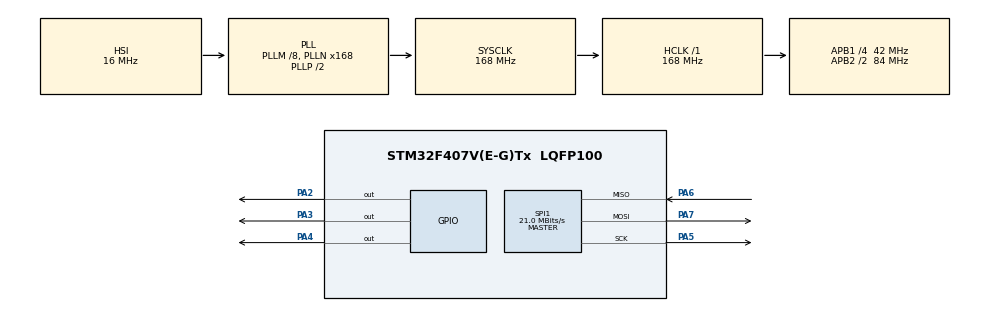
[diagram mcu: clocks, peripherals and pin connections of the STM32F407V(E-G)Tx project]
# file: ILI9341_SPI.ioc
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Mcu.Family=STM32F4
Mcu.Name=STM32F407V(E-G)Tx
Mcu.Package=LQFP100
NVIC.PriorityGroup=NVIC_PRIORITYGROUP_4
PA13.Mode=Serial_Wire
PA13.Signal=SYS_JTMS-SWDIO
PA14.Mode=Serial_Wire
PA14.Signal=SYS_JTCK-SWCLK
PA2.GPIO_Speed=GPIO_SPEED_FREQ_HIGH
PA2.Signal=GPIO_Output
PA3.GPIO_Speed=GPIO_SPEED_FREQ_HIGH
PA3.Signal=GPIO_Output
PA4.GPIO_Speed=GPIO_SPEED_FREQ_HIGH
PA4.Signal=GPIO_Output
PA5.Mode=Full_Duplex_Master
PA5.Signal=SPI1_SCK
PA6.Mode=Full_Duplex_Master
PA6.Signal=SPI1_MISO
PA7.Mode=Full_Duplex_Master
PA7.Signal=SPI1_MOSI
PH0-OSC_IN.Mode=HSE-External-Oscillator
PH0-OSC_IN.Signal=RCC_OSC_IN
PH1-OSC_OUT.Mode=HSE-External-Oscillator
PH1-OSC_OUT.Signal=RCC_OSC_OUT
ProjectManager.HeapSize=0x400
ProjectManager.StackSize=0x800
ProjectManager.TargetToolchain=MDK-ARM V5.27
RCC.48MHZClocksFreq_Value=48000000
RCC.AHBFreq_Value=168000000
RCC.APB1CLKDivider=RCC_HCLK_DIV4
RCC.APB1Freq_Value=42000000
RCC.APB1TimFreq_Value=84000000
RCC.APB2CLKDivider=RCC_HCLK_DIV2
RCC.APB2Freq_Value=84000000
RCC.APB2TimFreq_Value=168000000
RCC.CortexFreq_Value=168000000
RCC.HCLKFreq_Value=168000000
RCC.HSE_VALUE=8000000
RCC.HSI_VALUE=16000000
RCC.LSE_VALUE=32768
RCC.PLLM=8
RCC.PLLN=168
RCC.PLLQ=7
RCC.SYSCLKFreq_VALUE=168000000
RCC.SYSCLKSource=RCC_SYSCLKSOURCE_PLLCLK
RCC.VCOOutputFreq_Value=336000000
SPI1.BaudRatePrescaler=SPI_BAUDRATEPRESCALER_4
SPI1.CalculateBaudRate=21.0 MBits/s
SPI1.Direction=SPI_DIRECTION_2LINES
SPI1.Mode=SPI_MODE_MASTER
SPI1.VirtualType=VM_MASTER
VP_RNG_VS_RNG.Mode=RNG_Activate
board=custom

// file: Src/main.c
/* USER CODE BEGIN Header */
/**
  ******************************************************************************
  * @file           : main.c
  * @brief          : Main program body
  ******************************************************************************
  * @attention
  *
  * <h2><center>&copy; Copyright (c) 2019 STMicroelectronics.
  * All rights reserved.</center></h2>
  *
  * This software component is licensed by ST under BSD 3-Clause license,
  * the "License"; You may not use this file except in compliance with the
  * License. You may obtain a copy of the License at:
  *                        opensource.org/licenses/BSD-3-Clause
  *
  ******************************************************************************
  */
/* USER CODE END Header */

#include "main.h"

/* USER CODE BEGIN Includes */
#include "spi_ili9341.h"
/* USER CODE END Includes */

RNG_HandleTypeDef hrng;

SPI_HandleTypeDef hspi1;

/* USER CODE BEGIN PV */
extern uint16_t TFT9341_WIDTH;
extern uint16_t TFT9341_HEIGHT;
//-------------------------------------------------------------------
/* USER CODE END PV */

void SystemClock_Config(void);
static void MX_GPIO_Init(void);
static void MX_RNG_Init(void);
static void MX_SPI1_Init(void);

/* USER CODE BEGIN 0 */
__STATIC_INLINE void DelayMicro(uint32_t __IO micros)
{
  micros *=(SystemCoreClock/1000000)/5;
  while(micros--);
}
/* USER CODE END 0 */

int main(void)
{
  /* USER CODE BEGIN 1 */
  uint16_t i,j;
  /* USER CODE END 1 */

  /* MCU Configuration--------------------------------------------------------*/

  /* Reset of all peripherals, Initializes the Flash interface and the Systick. */
  HAL_Init();

  /* Configure the system clock */
  SystemClock_Config();

  /* Initialize all configured peripherals */
  MX_GPIO_Init();
  MX_RNG_Init();
  MX_SPI1_Init();
  /* USER CODE BEGIN 2 */
  TFT9341_ini(240, 320);
  TFT9341_FillScreen(TFT9341_BLACK);
  HAL_Delay(500);
  /* USER CODE END 2 */

  /* Infinite loop */
  while (1)
  {

    /* USER CODE BEGIN 3 */
    for(i=0;i<20;i++)
    {
      TFT9341_FillScreen(TFT9341_RandColor());
      HAL_Delay(150);
    }
		HAL_Delay(500);
    TFT9341_FillScreen(TFT9341_BLACK);
    for(i=0;i<20;i++)
    {
      TFT9341_FillRect(0, 0, TFT9341_WIDTH/2-1, TFT9341_HEIGHT/2-1, TFT9341_RandColor());
      HAL_Delay(100);
      TFT9341_FillRect(TFT9341_WIDTH/2, 0, TFT9341_WIDTH-1, TFT9341_HEIGHT/2-1, TFT9341_RandColor());
      HAL_Delay(100);
      TFT9341_FillRect(0, TFT9341_HEIGHT/2, TFT9341_WIDTH/2-1, TFT9341_HEIGHT-1, TFT9341_RandColor());
      HAL_Delay(100);
      TFT9341_FillRect(TFT9341_WIDTH/2, TFT9341_HEIGHT/2, TFT9341_WIDTH-1, TFT9341_HEIGHT-1, TFT9341_RandColor());
      HAL_Delay(100);
    }
    HAL_Delay(500);
    TFT9341_FillScreen(TFT9341_BLACK);
    for(i=0;i<1000;i++)
    {
      TFT9341_FillRect(HAL_RNG_GetRandomNumber(&hrng)%TFT9341_WIDTH,
              HAL_RNG_GetRandomNumber(&hrng)%TFT9341_HEIGHT,
              HAL_RNG_GetRandomNumber(&hrng)%TFT9341_WIDTH,
              HAL_RNG_GetRandomNumber(&hrng)%TFT9341_HEIGHT,
              TFT9341_RandColor());
      HAL_Delay(10);
    }
    HAL_Delay(500);
    TFT9341_FillScreen(TFT9341_BLACK);
    for(i=0;i<15000;i++)
    {
      for(j=0;j<100;j++)
      {
        TFT9341_DrawPixel(HAL_RNG_GetRandomNumber(&hrng)%TFT9341_WIDTH,
                          HAL_RNG_GetRandomNumber(&hrng)%TFT9341_HEIGHT,
                          TFT9341_BLACK);
      }
      TFT9341_DrawPixel(HAL_RNG_GetRandomNumber(&hrng)%TFT9341_WIDTH,
                          HAL_RNG_GetRandomNumber(&hrng)%TFT9341_HEIGHT,
                          TFT9341_RandColor());
      DelayMicro(100);
    }
    HAL_Delay(500);
    for(j=0;j<20;j++)
    {
      for(i=0;i<TFT9341_WIDTH;i++)
      {
        TFT9341_DrawLine(TFT9341_RandColor(),i,0,i,TFT9341_HEIGHT-1);
      }
    }
    HAL_Delay(500);
    TFT9341_FillScreen(TFT9341_BLACK);
    for(i=0;i<1000;i++)
    {
      TFT9341_DrawLine(TFT9341_RandColor(),
                      HAL_RNG_GetRandomNumber(&hrng)%TFT9341_WIDTH,
                      HAL_RNG_GetRandomNumber(&hrng)%TFT9341_HEIGHT,
                      HAL_RNG_GetRandomNumber(&hrng)%TFT9341_WIDTH,
                      HAL_RNG_GetRandomNumber(&hrng)%TFT9341_HEIGHT);
      HAL_Delay(10);
    }
    HAL_Delay(500);
    TFT9341_FillScreen(TFT9341_BLACK);
    for(j=0;j<20;j++)
    {
      for(i=0;i<TFT9341_WIDTH/2;i++)
      {
        TFT9341_DrawRect(TFT9341_RandColor(), i, i, TFT9341_WIDTH-i-1, TFT9341_HEIGHT-i-1);
      }
    }
    HAL_Delay(500);
    TFT9341_FillScreen(TFT9341_BLACK);
    for(i=0;i<2000;i++)
    {
      TFT9341_DrawCircle(HAL_RNG_GetRandomNumber(&hrng)%(TFT9341_WIDTH-40)+20,
                         HAL_RNG_GetRandomNumber(&hrng)%(TFT9341_HEIGHT-40)+20,
                         20,TFT9341_RandColor());
      HAL_Delay(3);
    }
    HAL_Delay(500);
    TFT9341_FillScreen(TFT9341_BLACK);
    TFT9341_SetTextColor(TFT9341_YELLOW);
    TFT9341_SetBackColor(TFT9341_BLUE);
    TFT9341_SetFont(&Font24);
    TFT9341_DrawChar(10,10,'S');
    TFT9341_DrawChar(27,10,('t'));
    TFT9341_DrawChar(44,10,('m'));
    TFT9341_DrawChar(61,10,('3'));
    TFT9341_DrawChar(78,10,('2'));
    TFT9341_SetTextColor(TFT9341_GREEN);
    TFT9341_SetBackColor(TFT9341_RED);
    TFT9341_SetFont(&Font20);
    TFT9341_DrawChar(10,34,('S'));
    TFT9341_DrawChar(24,34,('t'));
    TFT9341_DrawChar(38,34,('m'));
    TFT9341_DrawChar(52,34,('3'));
    TFT9341_DrawChar(66,34,('2'));
    TFT9341_SetTextColor(TFT9341_BLUE);
    TFT9341_SetBackColor(TFT9341_YELLOW);
    TFT9341_SetFont(&Font16);
    TFT9341_DrawChar(10,54,('S'));
    TFT9341_DrawChar(21,54,('t'));
    TFT9341_DrawChar(32,54,('m'));
    TFT9341_DrawChar(43,54,('3'));
    TFT9341_DrawChar(54,54,('2'));
    TFT9341_SetTextColor(TFT9341_CYAN);
    TFT9341_SetBackColor(TFT9341_BLACK);
    TFT9341_SetFont(&Font12);
    TFT9341_DrawChar(10,70,('S'));
    TFT9341_DrawChar(17,70,('t'));
    TFT9341_DrawChar(24,70,('m'));
    TFT9341_DrawChar(31,70,('3'));
    TFT9341_DrawChar(38,70,('2'));
    TFT9341_SetTextColor(TFT9341_RED);
    TFT9341_SetBackColor(TFT9341_GREEN);
    TFT9341_SetFont(&Font8);
    TFT9341_DrawChar(10,82,('S'));
    TFT9341_DrawChar(15,82,('t'));
    TFT9341_DrawChar(20,82,('m'));
    TFT9341_DrawChar(25,82,('3'));
    TFT9341_DrawChar(30,82,('2'));
    TFT9341_SetTextColor(TFT9341_YELLOW);
    TFT9341_SetBackColor(TFT9341_BLUE);
    HAL_Delay(2000);
    TFT9341_FillScreen(TFT9341_BLACK);
    for(i=0;i<16;i++)
    {
      TFT9341_SetRotation(i%4);
      TFT9341_SetFont(&Font24);
      TFT9341_FillScreen(TFT9341_BLACK);
      TFT9341_String(1,100,"ABCDEF12345678");
      TFT9341_SetFont(&Font20);
      TFT9341_String(1,124,"ABCDEFGHI12345678");
      TFT9341_SetFont(&Font16);
      TFT9341_String(1,144,"ABCDEFGHIKL123456789");
      TFT9341_SetFont(&Font12);
      TFT9341_String(1,160,"ABCDEFGHIKLMNOPQRSTUVWXY 123456789");
      TFT9341_SetFont(&Font8);
      TFT9341_String(1,172,"ABCDEFGHIKLMNOPQRSTUVWXYZ 123456789ABCDEFGHIKL");
      HAL_Delay(2000);
    }
    HAL_Delay(10000);
    TFT9341_SetRotation(0);
  }
  /* USER CODE END 3 */
}

void SystemClock_Config(void)
{
  RCC_OscInitTypeDef RCC_OscInitStruct = {0};
  RCC_ClkInitTypeDef RCC_ClkInitStruct = {0};

  /** Configure the main internal regulator output voltage
  */
  __HAL_RCC_PWR_CLK_ENABLE();
  __HAL_PWR_VOLTAGESCALING_CONFIG(PWR_REGULATOR_VOLTAGE_SCALE1);
  /** Initializes the CPU, AHB and APB busses clocks
  */
  RCC_OscInitStruct.OscillatorType = RCC_OSCILLATORTYPE_HSI;
  RCC_OscInitStruct.HSIState = RCC_HSI_ON;
  RCC_OscInitStruct.HSICalibrationValue = RCC_HSICALIBRATION_DEFAULT;
  RCC_OscInitStruct.PLL.PLLState = RCC_PLL_ON;
  RCC_OscInitStruct.PLL.PLLSource = RCC_PLLSOURCE_HSI;
  RCC_OscInitStruct.PLL.PLLM = 8;
  RCC_OscInitStruct.PLL.PLLN = 168;
  RCC_OscInitStruct.PLL.PLLP = RCC_PLLP_DIV2;
  RCC_OscInitStruct.PLL.PLLQ = 7;
  if (HAL_RCC_OscConfig(&RCC_OscInitStruct) != HAL_OK)
  {
    Error_Handler();
  }
  /** Initializes the CPU, AHB and APB busses clocks
  */
  RCC_ClkInitStruct.ClockType = RCC_CLOCKTYPE_HCLK|RCC_CLOCKTYPE_SYSCLK
                              |RCC_CLOCKTYPE_PCLK1|RCC_CLOCKTYPE_PCLK2;
  RCC_ClkInitStruct.SYSCLKSource = RCC_SYSCLKSOURCE_PLLCLK;
  RCC_ClkInitStruct.AHBCLKDivider = RCC_SYSCLK_DIV1;
  RCC_ClkInitStruct.APB1CLKDivider = RCC_HCLK_DIV4;
  RCC_ClkInitStruct.APB2CLKDivider = RCC_HCLK_DIV2;

  if (HAL_RCC_ClockConfig(&RCC_ClkInitStruct, FLASH_LATENCY_5) != HAL_OK)
  {
    Error_Handler();
  }
}

static void MX_RNG_Init(void)
{

  hrng.Instance = RNG;
  if (HAL_RNG_Init(&hrng) != HAL_OK)
  {
    Error_Handler();
  }

}

static void MX_SPI1_Init(void)
{

  /* SPI1 parameter configuration*/
  hspi1.Instance = SPI1;
  hspi1.Init.Mode = SPI_MODE_MASTER;
  hspi1.Init.Direction = SPI_DIRECTION_2LINES;
  hspi1.Init.DataSize = SPI_DATASIZE_8BIT;
  hspi1.Init.CLKPolarity = SPI_POLARITY_LOW;
  hspi1.Init.CLKPhase = SPI_PHASE_1EDGE;
  hspi1.Init.NSS = SPI_NSS_SOFT;
  hspi1.Init.BaudRatePrescaler = SPI_BAUDRATEPRESCALER_4;
  hspi1.Init.FirstBit = SPI_FIRSTBIT_MSB;
  hspi1.Init.TIMode = SPI_TIMODE_DISABLE;
  hspi1.Init.CRCCalculation = SPI_CRCCALCULATION_DISABLE;
  hspi1.Init.CRCPolynomial = 10;
  if (HAL_SPI_Init(&hspi1) != HAL_OK)
  {
    Error_Handler();
  }

}

static void MX_GPIO_Init(void)
{
  GPIO_InitTypeDef GPIO_InitStruct = {0};

  /* GPIO Ports Clock Enable */
  __HAL_RCC_GPIOH_CLK_ENABLE();
  __HAL_RCC_GPIOA_CLK_ENABLE();

  /*Configure GPIO pin Output Level */
  HAL_GPIO_WritePin(GPIOA, GPIO_PIN_2|GPIO_PIN_3|GPIO_PIN_4, GPIO_PIN_RESET);

  /*Configure GPIO pins : PA2 PA3 PA4 */
  GPIO_InitStruct.Pin = GPIO_PIN_2|GPIO_PIN_3|GPIO_PIN_4;
  GPIO_InitStruct.Mode = GPIO_MODE_OUTPUT_PP;
  GPIO_InitStruct.Pull = GPIO_NOPULL;
  GPIO_InitStruct.Speed = GPIO_SPEED_FREQ_HIGH;
  HAL_GPIO_Init(GPIOA, &GPIO_InitStruct);

}

void Error_Handler(void)
{
}

/************************ (C) COPYRIGHT STMicroelectronics *****END OF FILE****/
